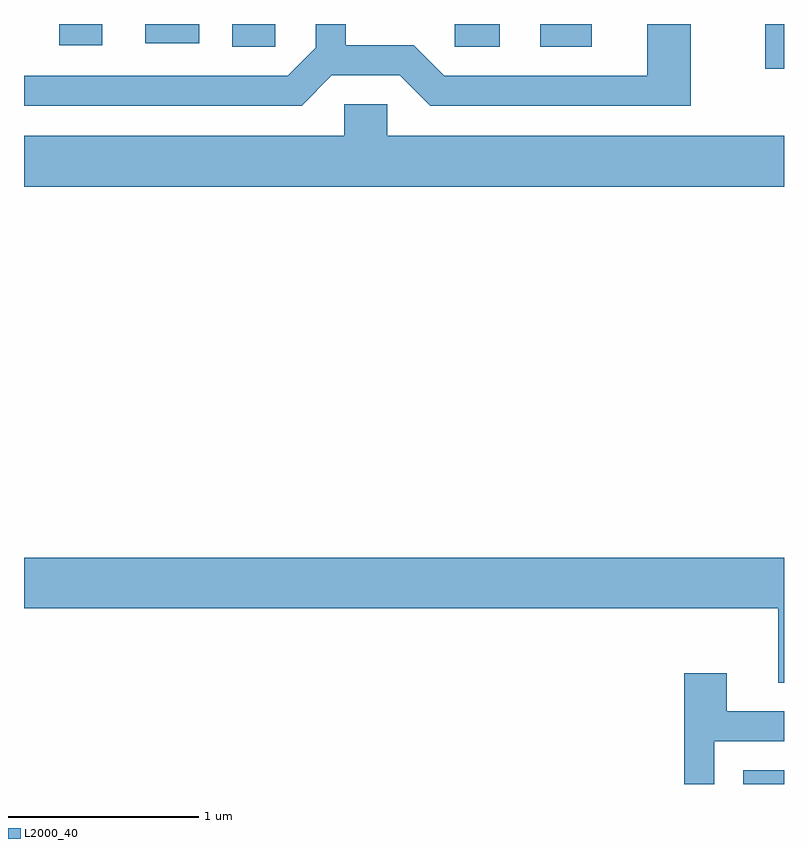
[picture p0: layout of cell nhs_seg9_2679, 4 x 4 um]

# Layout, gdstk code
import gdstk
lib = gdstk.Library(unit=1e-6, precision=1e-09)
def R(c, l, rs):  # rectangles x0, y0, x1, y1
    for r in rs: c.add(gdstk.rectangle(r[:2], r[2:], *l))
def P(c, l, *ps):  # polygons
    for p in ps: c.add(gdstk.Polygon(p, *l))
L2000_40 = (2000, 40)

nhs_seg9_2679 = lib.new_cell('nhs_seg9_2679')
R(nhs_seg9_2679, L2000_40, [(267.396,2006.432,267.611,2006.504), (267.511,2010.196,267.611,2010.432), (264.706,2010.311,264.934,2010.432), (265.878,2010.311,266.114,2010.432), (266.328,2010.311,266.599,2010.432), (263.796,2010.321,264.024,2010.432), (264.248,2010.331,264.534,2010.432)])
P(nhs_seg9_2679, L2000_40, [(265.232,2010.161),(265.589,2010.161),(265.749,2010.001),(267.119,2010.001),(267.119,2010.432),(266.891,2010.432),(266.891,2010.159),(265.822,2010.159),(265.662,2010.319),(265.304,2010.319),(265.304,2010.432),(265.146,2010.432),(265.146,2010.307),(264.999,2010.159),(263.611,2010.159),(263.611,2010.001),(265.072,2010.001)],
  [(267.611,2009.844),(265.524,2009.844),(265.524,2010.009),(265.296,2010.009),(265.296,2009.844),(263.611,2009.844),(263.611,2009.576),(267.611,2009.576)],
  [(263.611,2007.356),(267.581,2007.356),(267.581,2006.966),(267.611,2006.966),(267.611,2007.624),(263.611,2007.624)],
  [(267.244,2006.656),(267.611,2006.656),(267.611,2006.814),(267.309,2006.814),(267.309,2007.014),(267.086,2007.014),(267.086,2006.432),(267.244,2006.432)])

lib.write_gds('nhs_seg9_2679.gds')
